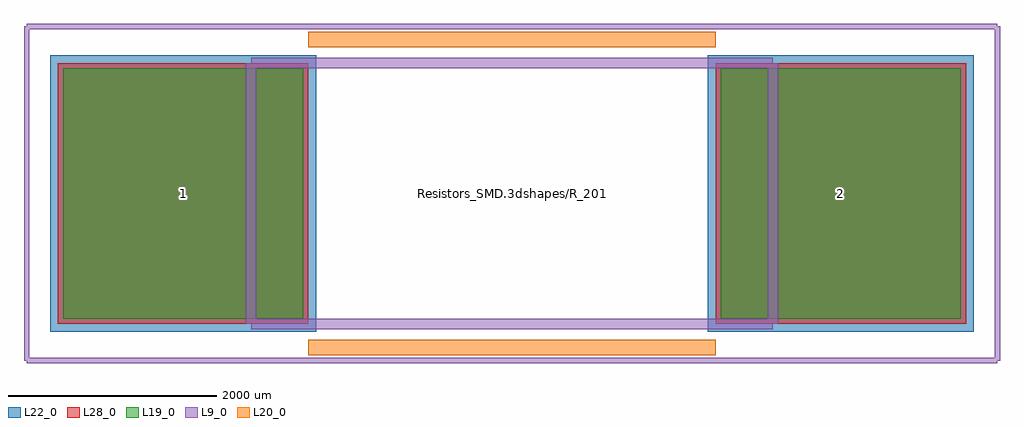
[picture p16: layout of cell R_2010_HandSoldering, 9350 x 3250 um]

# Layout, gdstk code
import gdstk
lib = gdstk.Library(unit=1e-6, precision=1e-09)
def R(c, l, rs):  # rectangles x0, y0, x1, y1
    for r in rs: c.add(gdstk.rectangle(r[:2], r[2:], *l))
L9_0 = (9, 0)
L19_0 = (19, 0)
L20_0 = (20, 0)
L22_0 = (22, 0)
L28_0 = (28, 0)

r_2010_handsoldering = lib.new_cell('R_2010_HandSoldering')
R(r_2010_handsoldering, L19_0, [(-4300,-1200,-2000,1200), (2000,-1200,4300,1200)])
R(r_2010_handsoldering, L22_0, [(-4425,-1325,-1875,1325), (1875,-1325,4425,1325)])
R(r_2010_handsoldering, L28_0, [(-4350,-1250,-1950,1250), (1950,-1250,4350,1250)])
r_2010_handsoldering.add(gdstk.FlexPath([(-1950,1475),(1950,1475)], 149.998, ends="flush", simple_path=True, layer=20, datatype=0))  # L20_0
r_2010_handsoldering.add(gdstk.FlexPath([(1950,-1475),(-1950,-1475)], 149.998, ends="flush", simple_path=True, layer=20, datatype=0))  # L20_0
r_2010_handsoldering.add(gdstk.FlexPath([(4650,1600),(4650,-1600)], 50, ends="flush", simple_path=True, layer=9, datatype=0))  # L9_0
r_2010_handsoldering.add(gdstk.FlexPath([(-4650,1600),(-4650,-1600)], 50, ends="flush", simple_path=True, layer=9, datatype=0))  # L9_0
r_2010_handsoldering.add(gdstk.FlexPath([(-4650,-1600),(4650,-1600)], 50, ends="flush", simple_path=True, layer=9, datatype=0))  # L9_0
r_2010_handsoldering.add(gdstk.FlexPath([(-4650,1600),(4650,1600)], 50, ends="flush", simple_path=True, layer=9, datatype=0))  # L9_0
r_2010_handsoldering.add(gdstk.FlexPath([(-2500,1250),(2500,1250)], 100, ends="flush", simple_path=True, layer=9, datatype=0))  # L9_0
r_2010_handsoldering.add(gdstk.FlexPath([(2500,1250),(2500,-1250)], 100, ends="flush", simple_path=True, layer=9, datatype=0))  # L9_0
r_2010_handsoldering.add(gdstk.FlexPath([(2500,-1250),(-2500,-1250)], 100, ends="flush", simple_path=True, layer=9, datatype=0))  # L9_0
r_2010_handsoldering.add(gdstk.FlexPath([(-2500,-1250),(-2500,1250)], 100, ends="flush", simple_path=True, layer=9, datatype=0))  # L9_0
r_2010_handsoldering.add(gdstk.Label('Resistors_SMD.3dshapes/R_2010_HandSoldering.wrl', (0,0), layer=12, texttype=0))
r_2010_handsoldering.add(gdstk.Label('2', (3150,0), layer=28, texttype=0))
r_2010_handsoldering.add(gdstk.Label('1', (-3150,0), layer=28, texttype=0))
r_2010_handsoldering.add(gdstk.Label('type', (0,-2700), layer=9, texttype=0))
r_2010_handsoldering.add(gdstk.Label('devicename', (0,2700), layer=9, texttype=0))

lib.write_gds('R_2010_HandSoldering.gds')
